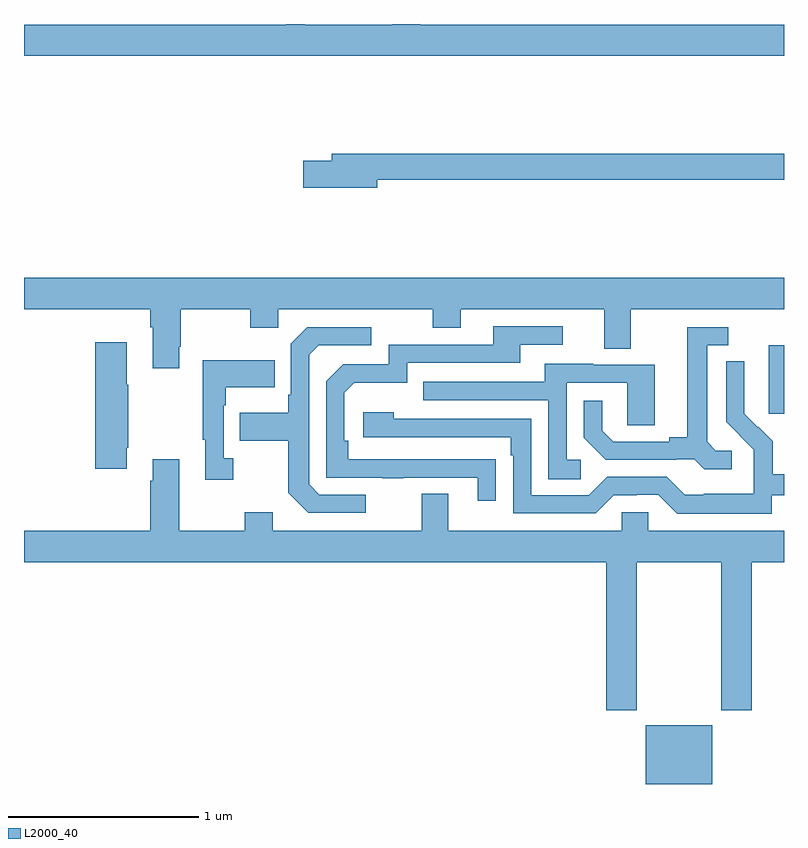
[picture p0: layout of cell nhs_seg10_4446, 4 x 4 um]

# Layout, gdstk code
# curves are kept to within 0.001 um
import gdstk
lib = gdstk.Library(unit=1e-6, precision=1e-09)
def R(c, l, rs):  # rectangles x0, y0, x1, y1
    for r in rs: c.add(gdstk.rectangle(r[:2], r[2:], *l))
def P(c, l, *ps):  # polygons
    for p in ps: c.add(gdstk.Polygon(p, *l))
L2000_40 = (2000, 40)

nhs_seg10_4446 = lib.new_cell('nhs_seg10_4446')
R(nhs_seg10_4446, L2000_40, [(366.272,1280.5,366.622,1280.809), (366.92,1282.449,367,1282.81)])
P(nhs_seg10_4446, L2000_40, [(367,1284.496),(365.086,1284.496),(365.086,1284.5),(364.939,1284.5),(364.939,1284.496),(364.478,1284.496),(364.478,1284.5),(364.379,1284.5),(364.379,1284.496),(363,1284.496),(363,1284.332),(367,1284.332)],
  [(364.858,1283.68),(367,1283.68),(367,1283.816),(364.619,1283.816),(364.619,1283.78),(364.47,1283.78),(364.47,1283.638),(364.858,1283.638)],
  [(363.817,1282.801),(363.825,1282.801),(363.825,1283),(364.192,1283),(364.192,1282.901),(364.338,1282.901),(364.338,1283),(365.152,1283),(365.152,1282.901),(365.299,1282.901),(365.299,1283),(366.053,1283),(366.053,1282.792),(366.193,1282.792),(366.193,1283),(367,1283),(367,1283.164),(363,1283.164),(363,1283),(363.665,1283),(363.665,1282.904),(363.677,1282.904),(363.677,1282.689),(363.817,1282.689)],
  [(365.483,1282.208),(364.706,1282.209),(364.706,1282.306),(364.686,1282.306),(364.686,1282.56),(364.739,1282.613),(365.016,1282.613),(365.016,1282.716),(365.611,1282.716),(365.611,1282.812),(365.836,1282.812),(365.836,1282.908),(365.471,1282.908),(365.471,1282.812),(364.92,1282.812),(364.92,1282.71),(364.68,1282.71),(364.59,1282.62),(364.59,1282.113),(364.885,1282.113),(364.885,1282.108),(364.997,1282.108),(364.997,1282.113),(365.387,1282.113),(365.387,1281.99),(365.483,1281.99)],
  [(364.798,1282.023),(364.554,1282.023),(364.5,1282.077),(364.5,1282.758),(364.551,1282.809),(364.828,1282.809),(364.828,1282.905),(364.491,1282.905),(364.404,1282.818),(364.404,1282.549),(364.392,1282.549),(364.392,1282.453),(364.135,1282.453),(364.135,1282.306),(364.392,1282.306),(364.392,1282.033),(364.497,1281.927),(364.798,1281.927)],
  [(366.724,1282.254),(366.642,1282.254),(366.595,1282.301),(366.595,1282.809),(366.706,1282.809),(366.706,1282.905),(366.491,1282.905),(366.491,1282.325),(366.395,1282.325),(366.395,1282.302),(366.1,1282.302),(366.043,1282.359),(366.043,1282.516),(365.946,1282.516),(365.946,1282.322),(366.062,1282.206),(366.434,1282.206),(366.434,1282.209),(366.528,1282.209),(366.58,1282.157),(366.724,1282.157)],
  [(363.541,1282.27),(363.549,1282.27),(363.549,1282.601),(363.541,1282.601),(363.541,1282.825),(363.374,1282.825),(363.374,1282.158),(363.541,1282.158)],
  [(364.102,1282.214),(364.05,1282.214),(364.05,1282.493),(364.063,1282.493),(364.063,1282.589),(364.319,1282.589),(364.319,1282.729),(363.942,1282.729),(363.942,1282.313),(363.953,1282.313),(363.953,1282.101),(364.102,1282.101)],
  [(366.936,1282.02),(367,1282.02),(367,1282.129),(366.941,1282.129),(366.941,1282.303),(366.864,1282.38),(366.861,1282.377),(366.791,1282.448),(366.792,1282.724),(366.696,1282.724),(366.696,1282.406),(366.842,1282.258),(366.842,1282.161),(366.84,1282.161),(366.84,1282.027),(366.577,1282.027),(366.577,1282.023),(366.477,1282.023),(366.384,1282.116),(366.069,1282.116),(365.973,1282.02),(365.67,1282.02),(365.67,1282.422),(364.946,1282.422),(364.946,1282.456),(364.785,1282.456),(364.785,1282.326),(365.561,1282.326),(365.561,1282.229),(365.574,1282.229),(365.574,1281.924),(366.009,1281.924),(366.105,1282.02),(366.224,1282.02),(366.224,1282.023),(366.339,1282.023),(366.439,1281.923),(366.936,1281.923)],
  [(365.929,1282.206),(365.856,1282.206),(365.856,1282.611),(366.174,1282.611),(366.174,1282.387),(366.319,1282.387),(366.319,1282.707),(365.995,1282.707),(365.995,1282.711),(365.741,1282.711),(365.741,1282.617),(365.101,1282.617),(365.101,1282.521),(365.76,1282.521),(365.76,1282.105),(365.929,1282.105)],
  [(366.225,1281.668),(366.67,1281.668),(366.67,1280.889),(366.83,1280.889),(366.83,1281.668),(367,1281.668),(367,1281.832),(366.285,1281.832),(366.285,1281.93),(366.147,1281.93),(366.147,1281.832),(365.233,1281.832),(365.233,1282.027),(365.093,1282.027),(365.093,1281.832),(364.309,1281.832),(364.309,1281.931),(364.162,1281.931),(364.162,1281.832),(363.817,1281.832),(363.817,1282.21),(363.677,1282.21),(363.677,1282.097),(363.665,1282.097),(363.665,1281.832),(363,1281.832),(363,1281.668),(366.065,1281.668),(366.065,1280.889),(366.225,1280.889)])

lib.write_gds('nhs_seg10_4446.gds')
